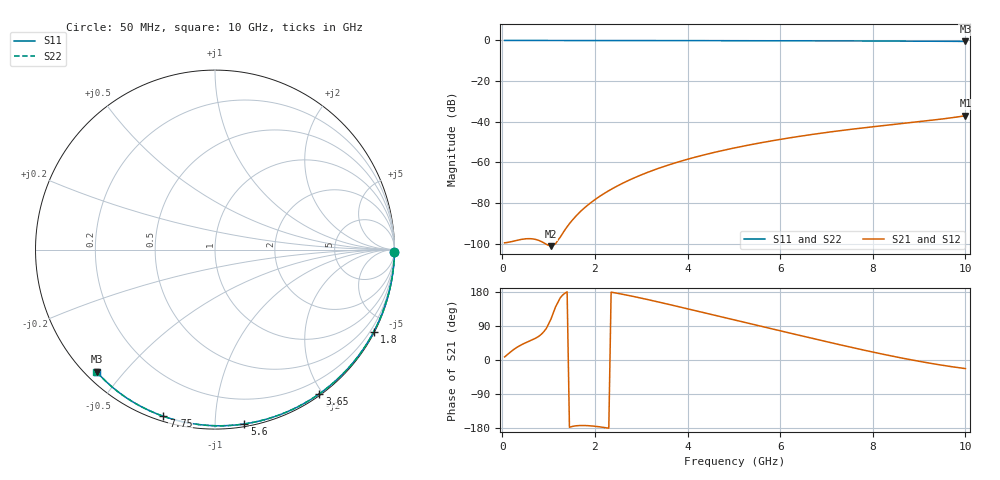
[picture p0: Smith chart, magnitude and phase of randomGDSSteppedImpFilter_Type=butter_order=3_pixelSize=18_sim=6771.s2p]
! freq	dB(S11)	phase(S11)	dB(S12)	phase(S12)
!  dB(S21)	phase(S21)	dB(S22)	phase(S22)
!S-par simulation data
#  GHz  S  DB  R 50
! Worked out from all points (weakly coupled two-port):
!   200 points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, 50 MHz to 10 GHz, reference 50 ohm
!   highest |S21| = -37.07 dB at 10 GHz (marker M1); lowest = -101.3 dB at 1.05 GHz (marker M2)
!   lowest |S11| = -0.5 dB at 10 GHz (marker M3), VSWR 37.06, Z = 1.59 - j21.1 ohm
!   |S11| at or under -10 dB: nowhere
!   |S22| runs from -0.5 to 0.0 dB; largest |S21 - S12| = 0
!   S11 on the Smith chart (normalised r, x): 50 MHz: open; 1.8 GHz: 0.04, -4.11; 3.65 GHz: 0.02, -1.96; 5.6 GHz: 0.02, -1.18; 7.75 GHz: 0.02, -0.74; 10 GHz: 0.03, -0.42
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0.05  -0.00 -0.8  -99.63 8.1  -99.63 8.1  -0.00 -0.8
0.55  -0.01 -8.5  -97.60 48.0  -97.60 48.0  -0.01 -8.5
1.05  -0.02 -16.1  -101.29 107.8  -101.29 107.8  -0.02 -16.1
1.75  -0.03 -26.6  -82.92 -172.8  -82.92 -172.8  -0.03 -26.6
1.8  -0.03 -27.3  -81.92 -173.0  -81.92 -173.0  -0.03 -27.3
1.9  -0.04 -28.8  -80.07 -173.7  -80.07 -173.7  -0.04 -28.8
2.05  -0.04 -31.0  -77.57 -175.6  -77.57 -175.6  -0.04 -31.0
2.25  -0.04 -34.0  -74.63 -179.0  -74.63 -179.0  -0.04 -34.0
2.45  -0.05 -36.9  -72.04 176.9  -72.04 176.9  -0.05 -36.9
2.65  -0.05 -39.8  -69.73 172.2  -69.73 172.2  -0.05 -39.8
3  -0.06 -44.9  -66.19 163.3  -66.19 163.3  -0.06 -44.9
3.4  -0.07 -50.6  -62.75 152.3  -62.75 152.3  -0.07 -50.6
3.65  -0.07 -54.1  -60.87 145.2  -60.87 145.2  -0.07 -54.1
4.3  -0.09 -63.1  -56.67 126.4  -56.67 126.4  -0.09 -63.1
5.05  -0.11 -73.2  -52.74 104.6  -52.74 104.6  -0.11 -73.2
5.6  -0.13 -80.4  -50.31 88.6  -50.31 88.6  -0.13 -80.5
6.15  -0.15 -87.5  -48.16 72.8  -48.16 72.8  -0.15 -87.5
6.7  -0.18 -94.4  -46.25 57.0  -46.25 57.0  -0.18 -94.4
7.75  -0.25 -107.2  -43.16 27.6  -43.16 27.6  -0.25 -107.2
8.35  -0.29 -114.4  -41.63 12.0  -41.63 12.0  -0.29 -114.4
9.2  -0.37 -124.5  -39.49 -7.7  -39.49 -7.7  -0.37 -124.5
10  -0.47 -134.1  -37.07 -22.7  -37.07 -22.7  -0.47 -134.2
